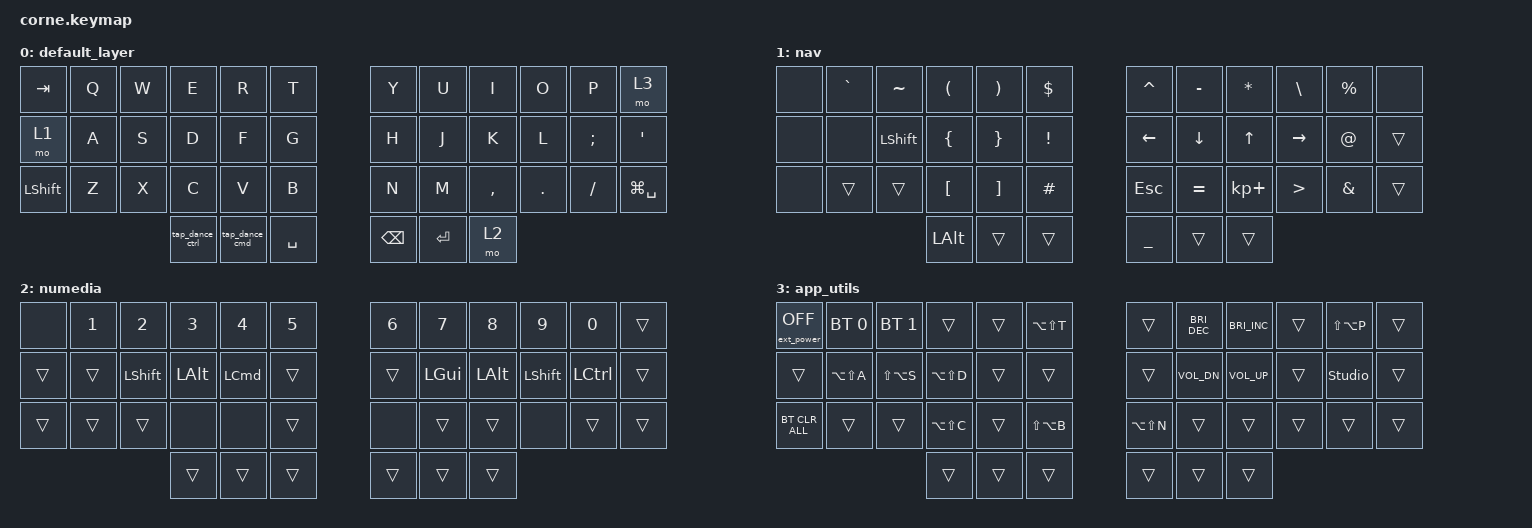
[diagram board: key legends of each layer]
/*
 * Copyright (c) 2020 The ZMK Contributors
 *
 * SPDX-License-Identifier: MIT
 */

#include <behaviors.dtsi>
#include <dt-bindings/zmk/bt.h>
#include <dt-bindings/zmk/ext_power.h>
#include <dt-bindings/zmk/keys.h>

/ {
    behaviors {
        tap_dance_cmd: tap_dance_cmd {
            compatible = "zmk,behavior-tap-dance";
            label = "TAP_DANCE_CMD";
            #binding-cells = <0>;
            bindings = <&kp LEFT_COMMAND>, <&kp RIGHT_COMMAND>;
        };

        tap_dance_ctrl: tap_dance_ctrl {
            compatible = "zmk,behavior-tap-dance";
            label = "TAP_DANCE_CTRL";
            #binding-cells = <0>;
            bindings = <&kp LCTRL>, <&kp LEFT_ALT>;
        };

        layer1_or_caplock: layer1_or_caplock {
            compatible = "zmk,behavior-hold-tap";
            label = "LAYER1_OR_CAPLOCK";
            bindings = <&mo>, <&kp>;

            #binding-cells = <2>;
            tapping-term-ms = <100>;
        };
    };

    macros {
        tmux1: tmux1 {
            compatible = "zmk,behavior-macro";
            #binding-cells = <0>;
            bindings = <&kp LC(A) &kp NUMBER_1>;
            label = "TMUX1";
        };
    };

    keymap {
        compatible = "zmk,keymap";

        default_layer {
            // -----------------------------------------------------------------------------------------
            // |  TAB |  Q  |  W  |  E  |  R  |  T  |   |  Y  |  U   |  I  |  O  |  P  | BKSP |
            // | CTRL |  A  |  S  |  D  |  F  |  G  |   |  H  |  J   |  K  |  L  |  ;  |  '   |
            // | SHFT |  Z  |  X  |  C  |  V  |  B  |   |  N  |  M   |  ,  |  .  |  /  | ESC  |
            //                    | GUI | LWR | SPC |   | ENT | RSE  | ALT |

            bindings = <
&kp TAB    &kp Q  &kp W  &kp E            &kp R           &kp T        &kp Y          &kp U      &kp I      &kp O    &kp P     &mo 3
&mo 1      &kp A  &kp S  &kp D            &kp F           &kp G        &kp H          &kp J      &kp K      &kp L    &kp SEMI  &kp SQT
&kp LSHFT  &kp Z  &kp X  &kp C            &kp V           &kp B        &kp N          &kp M      &kp COMMA  &kp DOT  &kp FSLH  &kp LG(SPACE)
                         &tap_dance_ctrl  &tap_dance_cmd  &kp SPACE    &kp BACKSPACE  &kp ENTER  &mo 2
            >;
        };

        nav {
            // -----------------------------------------------------------------------------------------
            // |  TAB |  1  |  2  |  3  |  4  |  5  |   |  6  |  7  |  8  |  9  |  0  | BKSP |
            // | BTCLR| BT1 | BT2 | BT3 | BT4 | BT5 |   | LFT | DWN |  UP | RGT |     |      |
            // | SHFT |     |     |     |     |     |   |     |     |     |     |     |      |
            //                    | GUI |     | SPC |   | ENT |     | ALT |

            bindings = <
&none  &kp GRAVE  &kp TILDE       &kp LEFT_PARENTHESIS  &kp RIGHT_PARENTHESIS  &kp DOLLAR         &kp CARET       &kp MINUS  &kp ASTERISK  &kp BACKSLASH     &kp PERCENT    &none
&none  &none      &kp LEFT_SHIFT  &kp LEFT_BRACE        &kp RIGHT_BRACE        &kp EXCLAMATION    &kp LEFT        &kp DOWN   &kp UP_ARROW  &kp RIGHT         &kp AT_SIGN    &trans
&none  &trans     &trans          &kp LEFT_BRACKET      &kp RIGHT_BRACKET      &kp HASH           &kp ESCAPE      &kp EQUAL  &kp KP_PLUS   &kp GREATER_THAN  &kp AMPERSAND  &trans
                                  &kp LEFT_ALT          &trans                 &trans             &kp UNDERSCORE  &trans     &trans
            >;
        };

        numedia {
            bindings = <
&none   &kp NUMBER_1  &kp NUMBER_2    &kp NUMBER_3  &kp NUMBER_4      &kp N5    &kp NUMBER_6  &kp N7        &kp N8        &kp N9          &kp N0            &trans
&trans  &trans        &kp LEFT_SHIFT  &kp LEFT_ALT  &kp LEFT_COMMAND  &trans    &trans        &kp LEFT_GUI  &kp LEFT_ALT  &kp LEFT_SHIFT  &kp LEFT_CONTROL  &trans
&trans  &trans        &trans          &none         &none             &trans    &none         &trans        &trans        &none           &trans            &trans
                                      &trans        &trans            &trans    &trans        &trans        &trans
            >;
        };

        app_utils {
            bindings = <
&ext_power EP_OFF  &bt BT_SEL 0   &bt BT_SEL 1   &trans         &trans  &kp LA(LS(T))    &trans         &kp C_BRIGHTNESS_DEC  &kp C_BRIGHTNESS_INC  &trans  &kp LS(LA(P))   &trans
&trans             &kp LA(LS(A))  &kp LS(LA(S))  &kp LA(LS(D))  &trans  &trans           &trans         &kp C_VOL_DN          &kp C_VOLUME_UP       &trans  &studio_unlock  &trans
&bt BT_CLR_ALL     &trans         &trans         &kp LA(LS(C))  &trans  &kp LS(LA(B))    &kp LA(LS(N))  &trans                &trans                &trans  &trans          &trans
                                                 &trans         &trans  &trans           &trans         &trans                &trans
            >;
        };
    };
};
